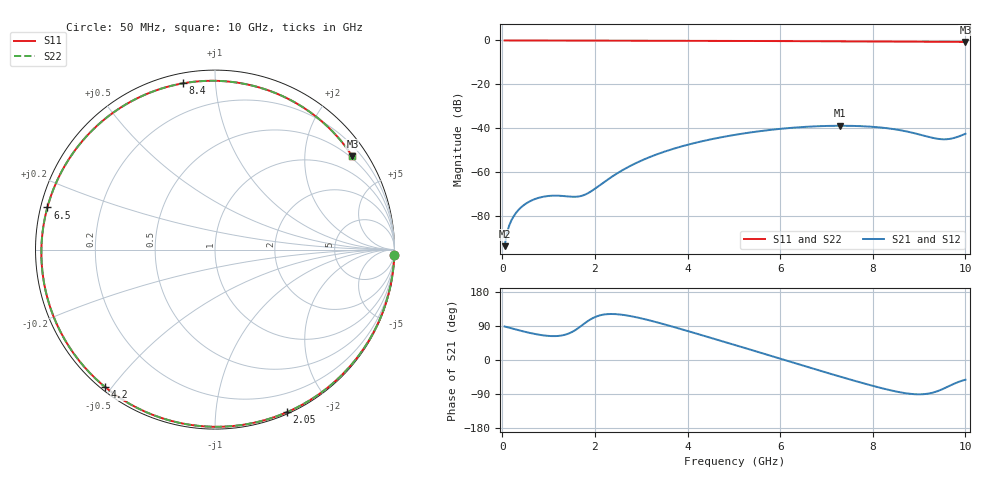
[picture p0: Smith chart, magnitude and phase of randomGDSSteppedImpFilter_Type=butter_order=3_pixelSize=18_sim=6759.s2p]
! freq	dB(S11)	phase(S11)	dB(S12)	phase(S12)
!  dB(S21)	phase(S21)	dB(S22)	phase(S22)
!S-par simulation data
#  GHz  S  DB  R 50
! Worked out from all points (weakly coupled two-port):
!   200 points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, 50 MHz to 10 GHz, reference 50 ohm
!   highest |S21| = -38.85 dB at 7.3 GHz (marker M1); lowest = -93.7 dB at 50 MHz (marker M2)
!   lowest |S11| = -0.7 dB at 10 GHz (marker M3), VSWR 25.73, Z = 22.2 + j160 ohm
!   |S11| at or under -10 dB: nowhere
!   |S22| runs from -0.7 to 0.0 dB; largest |S21 - S12| = 0
!   S11 on the Smith chart (normalised r, x): 50 MHz: 1, -68; 2.05 GHz: 0.02, -1.53; 4.2 GHz: 0.01, -0.48; 6.5 GHz: 0.02, +0.12; 8.4 GHz: 0.05, +0.82; 10 GHz: 0.44, +3.20
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0.05  -0.00 -1.7  -93.68 88.5  -93.68 88.5  -0.00 -1.7
0.25  -0.01 -8.3  -79.91 81.9  -79.91 81.9  -0.01 -8.3
0.5  -0.02 -16.6  -74.45 74.1  -74.45 74.1  -0.02 -16.6
0.8  -0.03 -26.5  -71.58 66.6  -71.58 66.6  -0.03 -26.5
1.05  -0.04 -34.6  -70.72 63.2  -70.72 63.2  -0.04 -34.6
1.75  -0.07 -56.9  -70.52 94.2  -70.52 94.2  -0.07 -56.9
2.05  -0.08 -66.2  -66.79 115.6  -66.79 115.6  -0.08 -66.2
2.7  -0.11 -85.7  -57.85 117.4  -57.85 117.4  -0.11 -85.7
3.4  -0.13 -106.0  -51.38 97.5  -51.38 97.5  -0.13 -106.0
4.2  -0.17 -128.5  -46.46 69.4  -46.46 69.4  -0.17 -128.5
5.05  -0.22 -152.2  -42.89 38.6  -42.89 38.6  -0.22 -152.1
5.8  -0.27 -173.4  -40.70 11.0  -40.70 11.0  -0.27 -173.4
6.5  -0.33 165.9  -39.40 -14.9  -39.40 -14.9  -0.33 165.9
6.7  -0.35 159.7  -39.17 -22.3  -39.17 -22.3  -0.35 159.7
7.3  -0.40 140.4  -38.85 -44.1  -38.85 -44.1  -0.40 140.4
7.85  -0.45 121.4  -39.14 -63.2  -39.14 -63.2  -0.45 121.4
8.35  -0.50 102.9  -40.08 -79.0  -40.08 -79.0  -0.50 102.9
8.4  -0.51 100.9  -40.22 -80.4  -40.22 -80.4  -0.51 100.9
8.95  -0.56 79.1  -42.51 -90.5  -42.51 -90.5  -0.56 79.0
9.5  -0.62 55.9  -44.99 -77.2  -44.99 -77.2  -0.62 55.9
9.75  -0.64 45.1  -44.43 -63.0  -44.43 -63.0  -0.65 45.1
10  -0.68 34.1  -42.48 -52.1  -42.48 -52.1  -0.68 34.1
